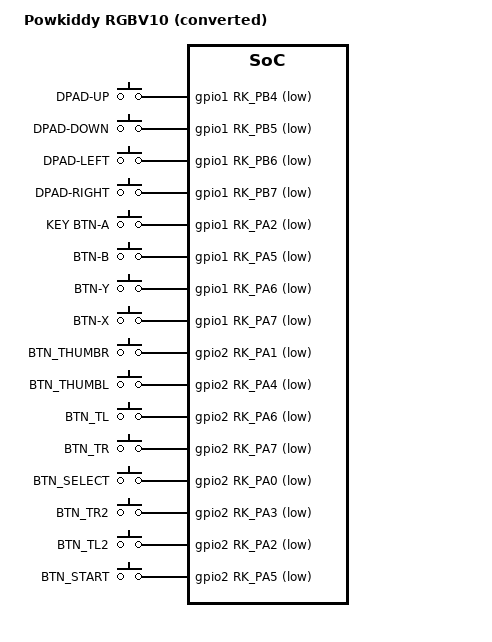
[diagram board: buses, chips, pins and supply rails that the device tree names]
// SPDX-License-Identifier: (GPL-2.0+ OR MIT)
/*
 * Powkiddy RGBV10, converted from a vendor RK3326 device tree by
 * `r36os dtb import` (boot-dtb-select D12). Do not edit: import again.
 * Source: arkos4clone/boot/dArkOS/consoles/rgbv10/rk3326-rgbv10-linux.dtb
 * SHA-256: db3d7c3bdf672fabda44d557063ec0e245cf446e1ad095d49723402d5687ac01
 * Note: speaker gain: source spk-volume 3 ignored, the native safe value is used
 */

#include "rk3326-r36s-v5.dts"

/ {
	model = "Powkiddy RGBV10 (converted)";

	lume-select {
		lume,id = "arkos4clone-rgbv10";
		lume,priority = <0>;
		/delete-property/ lume,default;
		/delete-property/ lume,panel-id;
	};

	/delete-node/ gpio-keys;
	/delete-node/ volume-keys;

	gpio-keys {
		compatible = "gpio-keys";
		pinctrl-names = "default";
		pinctrl-0 = <&btn_pins>;

		button-dpad-up {
			gpios = <&gpio1 RK_PB4 GPIO_ACTIVE_LOW>;
			label = "DPAD-UP";
			linux,code = <0x220>;
		};

		button-dpad-down {
			gpios = <&gpio1 RK_PB5 GPIO_ACTIVE_LOW>;
			label = "DPAD-DOWN";
			linux,code = <0x221>;
		};

		button-dpad-left {
			gpios = <&gpio1 RK_PB6 GPIO_ACTIVE_LOW>;
			label = "DPAD-LEFT";
			linux,code = <0x222>;
		};

		button-dpad-right {
			gpios = <&gpio1 RK_PB7 GPIO_ACTIVE_LOW>;
			label = "DPAD-RIGHT";
			linux,code = <0x223>;
		};

		button-key-btn-a {
			gpios = <&gpio1 RK_PA2 GPIO_ACTIVE_LOW>;
			label = "KEY BTN-A";
			linux,code = <0x131>;
		};

		button-btn-b {
			gpios = <&gpio1 RK_PA5 GPIO_ACTIVE_LOW>;
			label = "BTN-B";
			linux,code = <0x130>;
		};

		button-btn-y {
			gpios = <&gpio1 RK_PA6 GPIO_ACTIVE_LOW>;
			label = "BTN-Y";
			linux,code = <0x134>;
		};

		button-btn-x {
			gpios = <&gpio1 RK_PA7 GPIO_ACTIVE_LOW>;
			label = "BTN-X";
			linux,code = <0x133>;
		};

		button-btn-thumbr {
			gpios = <&gpio2 RK_PA1 GPIO_ACTIVE_LOW>;
			label = "BTN_THUMBR";
			linux,code = <0x2c2>;
		};

		button-btn-thumbl {
			gpios = <&gpio2 RK_PA4 GPIO_ACTIVE_LOW>;
			label = "BTN_THUMBL";
			linux,code = <0x2c3>;
		};

		button-btn-tl {
			gpios = <&gpio2 RK_PA6 GPIO_ACTIVE_LOW>;
			label = "BTN_TL";
			linux,code = <0x136>;
		};

		button-btn-tr {
			gpios = <&gpio2 RK_PA7 GPIO_ACTIVE_LOW>;
			label = "BTN_TR";
			linux,code = <0x137>;
		};

		button-btn-select {
			gpios = <&gpio2 RK_PA0 GPIO_ACTIVE_LOW>;
			label = "BTN_SELECT";
			linux,code = <0x2c0>;
		};

		button-btn-tr2 {
			gpios = <&gpio2 RK_PA3 GPIO_ACTIVE_LOW>;
			label = "BTN_TR2";
			linux,code = <0x139>;
		};

		button-btn-tl2 {
			gpios = <&gpio2 RK_PA2 GPIO_ACTIVE_LOW>;
			label = "BTN_TL2";
			linux,code = <0x138>;
		};

		button-btn-start {
			gpios = <&gpio2 RK_PA5 GPIO_ACTIVE_LOW>;
			label = "BTN_START";
			linux,code = <0x2c1>;
		};
	};

	/delete-node/ adc-joystick;
	/delete-node/ adc-mux;
	/delete-node/ mux-controller;

	/delete-node/ gpio-leds;

	rk817-sound {
		simple-audio-card,hp-det-gpios = <&gpio2 RK_PC6 GPIO_ACTIVE_LOW>;
	};
};

&internal_display {
	compatible = "rocknix,generic-dsi";
	/delete-property/ vcc-supply;
	vdd-supply = <&vcc_lcd>;
	reset-gpios = <&gpio3 RK_PC0 GPIO_ACTIVE_LOW>;
	panel_description =
		"G size=42,82 delays=2,1,20,120,20 format=rgb888 lanes=1 flags=0xe03",
		"M clock=17000 horizontal=320,130,4,130 vertical=480,2,1,2 default=1",
		"I seq=11 wait=fa",
		"I seq=e0001318040f063a564d030a06303e0f",
		"I seq=e100131801110638344d060d0b31370f",
		"I seq=c01817",
		"I seq=c141",
		"I seq=c5001a80",
		"I seq=3648",
		"I seq=3a55",
		"I seq=b000",
		"I seq=b1a0",
		"I seq=b402",
		"I seq=b62002",
		"I seq=e900",
		"I seq=f7a9512c82",
		"I seq=21",
		"I seq=29 wait=32";
};

&dsi {
	rockchip,lane-rate = <453>;
};

&backlight {
	pwms = <&pwm1 0 25000 0>;
	/delete-property/ num-interpolated-steps;
	brightness-levels = <0 1 2 3 4 5 6 7 8 9 10 11 12 13 14 15 16 17 18 19 20 21 22 23 24 25 26 27 28 29 30 31 32 33 34 35 36 37 38 39 40 41 42 43 44 45 46 47 48 49 50 51 52 53 54 55 56 57 58 59 60 61 62 63 64 65 66 67 68 69 70 71 72 73 74 75 76 77 78 79 80 81 82 83 84 85 86 87 88 89 90 91 92 93 94 95 96 97 98 99 100 101 102 103 104 105 106 107 108 109 110 111 112 113 114 115 116 117 118 119 120 121 122 123 124 125 126 127 128 129 130 131 132 133 134 135 136 137 138 139 140 141 142 143 144 145 146 147 148 149 150 151 152 153 154 155 156 157 158 159 160 161 162 163 164 165 166 167 168 169 170 171 172 173 174 175 176 177 178 179 180 181 182 183 184 185 186 187 188 189 190 191 192 193 194 195 196 197 198 199 200 201 202 203 204 205 206 207 208 209 210 211 212 213 214 215 216 217 218 219 220 221 222 223 224 225 226 227 228 229 230 231 232 233 234 235 236 237 238 239 240 241 242 243 244 245 246 247 248 249 250 251 252 253 254 255>;
	default-brightness-level = <200>;
};

&battery {
	charge-full-design-microamp-hours = <3000000>;
	voltage-max-design-microvolt = <4046000>;
	voltage-min-design-microvolt = <3300000>;
	ocv-capacity-table-0 = <4046000 100>,
				<4001000 95>,
				<3967000 90>,
				<3940000 85>,
				<3910000 80>,
				<3870000 75>,
				<3830000 70>,
				<3790000 65>,
				<3750000 60>,
				<3720000 55>,
				<3690000 50>,
				<3650000 45>,
				<3610000 40>,
				<3570000 35>,
				<3540000 30>,
				<3500000 25>,
				<3460000 20>,
				<3420000 15>,
				<3380000 10>,
				<3340000 5>,
				<3300000 0>;
};

&spk_amp {
	/delete-property/ enable-gpios;
	/delete-property/ pinctrl-names;
	/delete-property/ pinctrl-0;
};

&rk817 {
	interrupt-parent = <&gpio0>;
	interrupts = <RK_PB2 IRQ_TYPE_LEVEL_LOW>;
};

&rk817 {
	regulators {
		DCDC_REG1 {
			regulator-always-on;
			regulator-boot-on;
			regulator-min-microvolt = <950000>;
			regulator-max-microvolt = <1150000>;
			regulator-name = "vdd_logic";

			regulator-state-mem {
				regulator-on-in-suspend;
				/delete-property/ regulator-off-in-suspend;
				regulator-suspend-microvolt = <950000>;
			};
		};
		DCDC_REG2 {
			regulator-always-on;
			regulator-boot-on;
			regulator-min-microvolt = <950000>;
			regulator-max-microvolt = <1350000>;
			regulator-name = "vdd_arm";

			regulator-state-mem {
				/delete-property/ regulator-on-in-suspend;
				regulator-off-in-suspend;
				regulator-suspend-microvolt = <950000>;
			};
		};
		DCDC_REG3 {
			regulator-always-on;
			regulator-boot-on;
			/delete-property/ regulator-min-microvolt;
			/delete-property/ regulator-max-microvolt;
			regulator-name = "vcc_ddr";

			regulator-state-mem {
				regulator-on-in-suspend;
				/delete-property/ regulator-off-in-suspend;
				/delete-property/ regulator-suspend-microvolt;
			};
		};
		DCDC_REG4 {
			regulator-always-on;
			regulator-boot-on;
			regulator-min-microvolt = <3300000>;
			regulator-max-microvolt = <3300000>;
			regulator-name = "vcc_3v3";

			regulator-state-mem {
				/delete-property/ regulator-on-in-suspend;
				regulator-off-in-suspend;
				regulator-suspend-microvolt = <3300000>;
			};
		};
		LDO_REG1 {
			regulator-min-microvolt = <1000000>;
			regulator-max-microvolt = <1000000>;
			regulator-name = "vcc_1v0";

			regulator-state-mem {
				/delete-property/ regulator-on-in-suspend;
				regulator-off-in-suspend;
				regulator-suspend-microvolt = <1000000>;
			};
		};
		LDO_REG2 {
			regulator-always-on;
			regulator-boot-on;
			regulator-min-microvolt = <1800000>;
			regulator-max-microvolt = <1800000>;
			regulator-name = "vcc1v8_soc";

			regulator-state-mem {
				regulator-on-in-suspend;
				/delete-property/ regulator-off-in-suspend;
				regulator-suspend-microvolt = <1800000>;
			};
		};
		LDO_REG3 {
			regulator-always-on;
			regulator-boot-on;
			regulator-min-microvolt = <1000000>;
			regulator-max-microvolt = <1000000>;
			regulator-name = "vcc1v0_soc";

			regulator-state-mem {
				regulator-on-in-suspend;
				/delete-property/ regulator-off-in-suspend;
				regulator-suspend-microvolt = <1000000>;
			};
		};
		LDO_REG4 {
			regulator-always-on;
			regulator-boot-on;
			regulator-min-microvolt = <3300000>;
			regulator-max-microvolt = <3300000>;
			regulator-name = "vcc3v3_pmu";

			regulator-state-mem {
				regulator-on-in-suspend;
				/delete-property/ regulator-off-in-suspend;
				regulator-suspend-microvolt = <3300000>;
			};
		};
		LDO_REG5 {
			regulator-always-on;
			regulator-boot-on;
			regulator-min-microvolt = <1800000>;
			regulator-max-microvolt = <3300000>;
			regulator-name = "vccio_sd";

			regulator-state-mem {
				regulator-on-in-suspend;
				/delete-property/ regulator-off-in-suspend;
				regulator-suspend-microvolt = <3300000>;
			};
		};
		LDO_REG6 {
			regulator-boot-on;
			regulator-min-microvolt = <3300000>;
			regulator-max-microvolt = <3300000>;
			regulator-name = "vcc_sd";

			regulator-state-mem {
				regulator-on-in-suspend;
				/delete-property/ regulator-off-in-suspend;
				regulator-suspend-microvolt = <3300000>;
			};
		};
		LDO_REG7 {
			regulator-min-microvolt = <3300000>;
			regulator-max-microvolt = <3300000>;
			regulator-name = "vcc_backlight";

			regulator-state-mem {
				/delete-property/ regulator-on-in-suspend;
				regulator-off-in-suspend;
				regulator-suspend-microvolt = <3300000>;
			};
		};
		LDO_REG8 {
			regulator-min-microvolt = <2800000>;
			regulator-max-microvolt = <2800000>;
			regulator-name = "vcc_lcd";

			regulator-state-mem {
				/delete-property/ regulator-on-in-suspend;
				regulator-off-in-suspend;
				regulator-suspend-microvolt = <2800000>;
			};
		};
		LDO_REG9 {
			regulator-always-on;
			regulator-boot-on;
			regulator-min-microvolt = <3300000>;
			regulator-max-microvolt = <3300000>;
			regulator-name = "vcc_wifi";

			regulator-state-mem {
				/delete-property/ regulator-on-in-suspend;
				regulator-off-in-suspend;
				regulator-suspend-microvolt = <3300000>;
			};
		};
		BOOST {
			regulator-always-on;
			regulator-boot-on;
			regulator-min-microvolt = <5000000>;
			regulator-max-microvolt = <5400000>;
			regulator-name = "boost";
			/delete-node/ regulator-state-mem;
		};
		OTG_SWITCH {
			regulator-boot-on;
			/delete-property/ regulator-min-microvolt;
			/delete-property/ regulator-max-microvolt;
			regulator-name = "otg_switch";
			/delete-node/ regulator-state-mem;
		};
	};
};

&io_domains {
	vccio1-supply = <&{/i2c@ff180000/pmic@20/regulators/DCDC_REG4}>;
	vccio2-supply = <&{/i2c@ff180000/pmic@20/regulators/LDO_REG5}>;
	vccio3-supply = <&{/i2c@ff180000/pmic@20/regulators/DCDC_REG4}>;
	vccio4-supply = <&{/i2c@ff180000/pmic@20/regulators/DCDC_REG4}>;
	vccio5-supply = <&{/i2c@ff180000/pmic@20/regulators/DCDC_REG4}>;
	vccio6-supply = <&{/i2c@ff180000/pmic@20/regulators/DCDC_REG4}>;
	/delete-property/ vccio-oscgpi-supply;
};

&pmu_io_domains {
	pmuio1-supply = <&{/i2c@ff180000/pmic@20/regulators/LDO_REG4}>;
	pmuio2-supply = <&{/i2c@ff180000/pmic@20/regulators/LDO_REG4}>;
};

&gpio0 {
	/delete-node/ joystick-mux-en-hog;
};

&gpio1 {
	/delete-node/ lcd-enable-hog;
};

&gpio3 {
	/delete-node/ lcd-stbyb-hog;
};

&btn_pins {
	rockchip,pins =
		<1 RK_PB4 RK_FUNC_GPIO &pcfg_pull_up>,
		<1 RK_PB5 RK_FUNC_GPIO &pcfg_pull_up>,
		<1 RK_PB6 RK_FUNC_GPIO &pcfg_pull_up>,
		<1 RK_PB7 RK_FUNC_GPIO &pcfg_pull_up>,
		<1 RK_PA2 RK_FUNC_GPIO &pcfg_pull_up>,
		<1 RK_PA5 RK_FUNC_GPIO &pcfg_pull_up>,
		<1 RK_PA6 RK_FUNC_GPIO &pcfg_pull_up>,
		<1 RK_PA7 RK_FUNC_GPIO &pcfg_pull_up>,
		<2 RK_PA1 RK_FUNC_GPIO &pcfg_pull_up>,
		<2 RK_PA4 RK_FUNC_GPIO &pcfg_pull_up>,
		<2 RK_PA6 RK_FUNC_GPIO &pcfg_pull_up>,
		<2 RK_PA7 RK_FUNC_GPIO &pcfg_pull_up>,
		<2 RK_PA0 RK_FUNC_GPIO &pcfg_pull_up>,
		<2 RK_PA3 RK_FUNC_GPIO &pcfg_pull_up>,
		<2 RK_PA2 RK_FUNC_GPIO &pcfg_pull_up>,
		<2 RK_PA5 RK_FUNC_GPIO &pcfg_pull_up>;
};

&hp_det {
	rockchip,pins = <2 RK_PC6 RK_FUNC_GPIO &pcfg_pull_none>;
};

&pmic_int {
	rockchip,pins = <0 RK_PB2 RK_FUNC_GPIO &pcfg_pull_up>;
};
